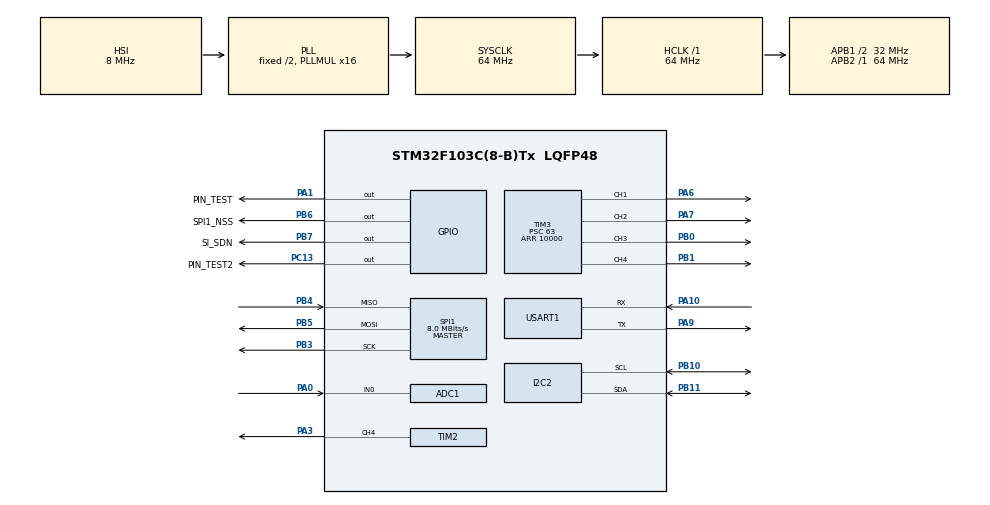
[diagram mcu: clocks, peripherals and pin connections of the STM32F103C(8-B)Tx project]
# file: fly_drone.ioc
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ADC1.Channel-1\#ChannelRegularConversion=ADC_CHANNEL_0
ADC1.NbrOfConversionFlag=1
ADC1.Rank-1\#ChannelRegularConversion=1
ADC1.SamplingTime-1\#ChannelRegularConversion=ADC_SAMPLETIME_1CYCLE_5
ADC1.master=1
I2C2.I2C_Mode=I2C_Fast
IWDG.Prescaler=IWDG_PRESCALER_64
IWDG.Reload=1250
Mcu.Family=STM32F1
Mcu.Name=STM32F103C(8-B)Tx
Mcu.Package=LQFP48
NVIC.PriorityGroup=NVIC_PRIORITYGROUP_4
NVIC.TIM3_IRQn=true\:0\:0\:false\:false\:true\:true\:true\:true
PA0-WKUP.Signal=ADCx_IN0
PA1.GPIO_Label=PIN_TEST
PA1.Signal=GPIO_Output
PA10.Mode=Asynchronous
PA10.Signal=USART1_RX
PA13.Mode=Serial_Wire
PA13.Signal=SYS_JTMS-SWDIO
PA14.Mode=Serial_Wire
PA14.Signal=SYS_JTCK-SWCLK
PA3.Signal=S_TIM2_CH4
PA6.Signal=S_TIM3_CH1
PA7.Signal=S_TIM3_CH2
PA9.Mode=Asynchronous
PA9.Signal=USART1_TX
PB0.Signal=S_TIM3_CH3
PB1.Signal=S_TIM3_CH4
PB10.Mode=I2C
PB10.Signal=I2C2_SCL
PB11.Mode=I2C
PB11.Signal=I2C2_SDA
PB3.Mode=Full_Duplex_Master
PB3.Signal=SPI1_SCK
PB4.Mode=Full_Duplex_Master
PB4.Signal=SPI1_MISO
PB5.Mode=Full_Duplex_Master
PB5.Signal=SPI1_MOSI
PB6.GPIO_Label=SPI1_NSS
PB6.Signal=GPIO_Output
PB7.GPIO_Label=SI_SDN
PB7.Signal=GPIO_Output
PC13-TAMPER-RTC.GPIO_Label=PIN_TEST2
PC13-TAMPER-RTC.Signal=GPIO_Output
ProjectManager.HeapSize=0x200
ProjectManager.StackSize=0x400
ProjectManager.TargetToolchain=Makefile
RCC.ADCPresc=RCC_ADCPCLK2_DIV6
RCC.AHBFreq_Value=64000000
RCC.APB1CLKDivider=RCC_HCLK_DIV2
RCC.APB1Freq_Value=32000000
RCC.APB1TimFreq_Value=64000000
RCC.APB2Freq_Value=64000000
RCC.APB2TimFreq_Value=64000000
RCC.HCLKFreq_Value=64000000
RCC.PLLMUL=RCC_PLL_MUL16
RCC.SYSCLKFreq_VALUE=64000000
RCC.SYSCLKSource=RCC_SYSCLKSOURCE_PLLCLK
RCC.USBFreq_Value=64000000
SH.ADCx_IN0.0=ADC1_IN0,IN0
SH.S_TIM2_CH4.0=TIM2_CH4,PWM Generation4 CH4
SH.S_TIM3_CH1.0=TIM3_CH1,PWM Generation1 CH1
SH.S_TIM3_CH2.0=TIM3_CH2,PWM Generation2 CH2
SH.S_TIM3_CH3.0=TIM3_CH3,PWM Generation3 CH3
SH.S_TIM3_CH4.0=TIM3_CH4,PWM Generation4 CH4
SPI1.BaudRatePrescaler=SPI_BAUDRATEPRESCALER_8
SPI1.CalculateBaudRate=8.0 MBits/s
SPI1.Direction=SPI_DIRECTION_2LINES
SPI1.Mode=SPI_MODE_MASTER
SPI1.VirtualType=VM_MASTER
TIM1.AutoReloadPreload=TIM_AUTORELOAD_PRELOAD_ENABLE
TIM1.Prescaler=63
TIM2.AutoReloadPreload=TIM_AUTORELOAD_PRELOAD_ENABLE
TIM2.Channel-PWM\ Generation4\ CH4=TIM_CHANNEL_4
TIM2.Period=20000
TIM2.Prescaler=63
TIM2.Pulse-PWM\ Generation4\ CH4=10000
TIM3.AutoReloadPreload=TIM_AUTORELOAD_PRELOAD_ENABLE
TIM3.Channel-PWM\ Generation1\ CH1=TIM_CHANNEL_1
TIM3.Channel-PWM\ Generation2\ CH2=TIM_CHANNEL_2
TIM3.Channel-PWM\ Generation3\ CH3=TIM_CHANNEL_3
TIM3.Channel-PWM\ Generation4\ CH4=TIM_CHANNEL_4
TIM3.Period=10000
TIM3.Prescaler=63
USART1.VirtualMode=VM_ASYNC
VP_IWDG_VS_IWDG.Mode=IWDG_Activate
VP_TIM1_VS_ClockSourceINT.Mode=Internal
VP_TIM2_VS_ClockSourceINT.Mode=Internal
VP_TIM3_VS_ClockSourceINT.Mode=Internal
board=custom

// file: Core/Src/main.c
/* USER CODE BEGIN Header */
/**
  ******************************************************************************
  * @file           : main.c
  * @brief          : Main program body
  ******************************************************************************
  * @attention
  *
  * Copyright (c) 2024 STMicroelectronics.
  * All rights reserved.
  *
  * This software is licensed under terms that can be found in the LICENSE file
  * in the root directory of this software component.
  * If no LICENSE file comes with this software, it is provided AS-IS.
  *
  ******************************************************************************
  */
/* USER CODE END Header */
#include "main.h"
#include "cmsis_os.h"

/* USER CODE BEGIN Includes */

#include <string.h>		// for strlen
#include <stdio.h>		// for sprintf
#include <math.h>		  // for abs and other

#include "radio_config_Si4463.h"

// #include "debug.h"

#include "params.h"
#include "system.h"
#include "mavlink_handler.h"

#include "imu.h"

#include "ModemControl.h"
#include "MotorControl.h"

#include "task.h"
#include "semphr.h"
/* USER CODE END Includes */

ADC_HandleTypeDef hadc1;

I2C_HandleTypeDef hi2c2;

IWDG_HandleTypeDef hiwdg;

SPI_HandleTypeDef hspi1;

TIM_HandleTypeDef htim1;
TIM_HandleTypeDef htim2;
TIM_HandleTypeDef htim3;

UART_HandleTypeDef huart1;

/* Definitions for modemTask */
osThreadId_t modemTaskHandle;
const osThreadAttr_t modemTask_attributes = {
  .name = "modemTask",
  .stack_size = 512 * 4,
  .priority = (osPriority_t) osPriorityNormal,
};
/* Definitions for imuTask */
osThreadId_t imuTaskHandle;
const osThreadAttr_t imuTask_attributes = {
  .name = "imuTask",
  .stack_size = 256 * 4,
  .priority = (osPriority_t) osPriorityNormal,
};
/* Definitions for controlTask */
osThreadId_t controlTaskHandle;
const osThreadAttr_t controlTask_attributes = {
  .name = "controlTask",
  .stack_size = 512 * 4,
  .priority = (osPriority_t) osPriorityNormal,
};
/* Definitions for myMutex01 */
osMutexId_t myMutex01Handle;
const osMutexAttr_t myMutex01_attributes = {
  .name = "myMutex01"
};

void SystemClock_Config(void);
static void MX_GPIO_Init(void);
static void MX_ADC1_Init(void);
static void MX_I2C2_Init(void);
static void MX_IWDG_Init(void);
static void MX_SPI1_Init(void);
static void MX_TIM2_Init(void);
static void MX_TIM3_Init(void);
static void MX_USART1_UART_Init(void);
static void MX_TIM1_Init(void);
void StartModemTask(void *argument);
void StartImuTask(void *argument);
void StartControlTask(void *argument);

/* USER CODE BEGIN 0 */

void test_set(int set){
  if (set !=0) HAL_GPIO_WritePin(PIN_TEST_GPIO_Port, PIN_TEST_Pin, GPIO_PIN_SET);
  else HAL_GPIO_WritePin(PIN_TEST_GPIO_Port, PIN_TEST_Pin, GPIO_PIN_RESET);

}

volatile uint32_t tick_ms = 0;

uint32_t Get_tick(void){
  return tick_ms;
}

void HAL_IncTick(void)
{
  uwTick += uwTickFreq;
  tick_ms++;
  if (htim1.Instance != 0)__HAL_TIM_SET_COUNTER(&htim1, 0); // reset for timer counter us
}

// void SYS_myTick(void)  // IRQ 1 ms
// {
//   tick_ms++;
//   // if ((tick_ms%1000) == 0) Printf("round\n\r");
//   //reset timer for calculate us
//   if (htim1.Instance != 0)__HAL_TIM_SET_COUNTER(&htim1, 0); // reset for timer counter us
// }

// void Printf(const char *fmt, ...){
//  HAL_UART_Transmit(&huart1, (unsigned char *)fmt, strlen(fmt), 500);
// }

#include <stdarg.h>

void Printf_str(const char *fmt, int len){
  osMutexAcquire(myMutex01Handle, osWaitForever);
  HAL_UART_Transmit(&huart1, (unsigned char *)fmt, len, 500);
  osMutexRelease(myMutex01Handle);
}
void Printf_i(int i){
  char d[16];
  itoa(i, d, 10,sizeof(d));
  Printf_str(d, strlen(d));
}
void Printf(const char * ptr, ...)
{
  va_list factor;
  va_start(factor, ptr);

  for (int i=0; ptr[i] != '\0'; i++){
    if ((ptr[i] == '%') && ((ptr[i+1] == 'd'))){
      int dig =  va_arg(factor, int);
      Printf_i(dig);
      i++;
    }
    else Printf_str(&ptr[i], 1);
  }
  va_end(factor);
}

// for printf. the size is larger on 2k
// int _write(int fd, char* ptr, int len) {
//     HAL_UART_Transmit(&huart1, (uint8_t *) ptr, len, HAL_MAX_DELAY);
//   ptr[len] = '\0';
//   if (ModemControl_getStatus()>=0) mavlink_send_statustext(ptr);
//     return len;
// }

/* USER CODE END 0 */

int main(void)
{

  /* MCU Configuration--------------------------------------------------------*/

  /* Reset of all peripherals, Initializes the Flash interface and the Systick. */
  HAL_Init();

  /* Configure the system clock */
  SystemClock_Config();

  /* Initialize all configured peripherals */
  MX_GPIO_Init();
  MX_ADC1_Init();
  MX_I2C2_Init();
  MX_IWDG_Init();
  MX_SPI1_Init();
  MX_TIM2_Init();
  MX_TIM3_Init();
  MX_USART1_UART_Init();
  MX_TIM1_Init();
  /* USER CODE BEGIN 2 */

  Printf("...\n\r");

#ifndef DEBUG
  __enable_irq();
  HAL_IWDG_Init(&hiwdg);
  __HAL_IWDG_START(&hiwdg);
  HAL_IWDG_Refresh(&hiwdg);
#endif

  HAL_TIM_Base_Start(&htim1); // timer for us calculate
  HAL_TIM_Base_Start(&htim2); // reserv for additional motors
  HAL_TIM_Base_Start(&htim3); // timer for motor pwm

  HAL_TIM_PWM_Start(&htim2, TIM_CHANNEL_2); // for additional motors
  HAL_TIM_PWM_Start(&htim2, TIM_CHANNEL_4); // for additional motors

  HAL_TIM_PWM_Start(&htim3, TIM_CHANNEL_1); // motor 1
  HAL_TIM_PWM_Start(&htim3, TIM_CHANNEL_2); // motor 2
  HAL_TIM_PWM_Start(&htim3, TIM_CHANNEL_3); // motor 3
  HAL_TIM_PWM_Start(&htim3, TIM_CHANNEL_4); // motor 4

  params_restore();

  // HAL_IWDG_Refresh(&hiwdg);

  MotorControl_init();

  if (imu_init() < 0) system_reboot();
  if (ModemControl_init() < 0) {Printf("MC_init false\n\r"); system_reboot();};

  Printf("Started...\n\r");

  /* USER CODE END 2 */

  /* Init scheduler */
  osKernelInitialize();
  /* Create the mutex(es) */
  /* creation of myMutex01 */
  myMutex01Handle = osMutexNew(&myMutex01_attributes);

  /* Create the thread(s) */
  /* creation of modemTask */
  modemTaskHandle = osThreadNew(StartModemTask, NULL, &modemTask_attributes);

  /* creation of imuTask */
  imuTaskHandle = osThreadNew(StartImuTask, NULL, &imuTask_attributes);

  /* creation of controlTask */
  controlTaskHandle = osThreadNew(StartControlTask, NULL, &controlTask_attributes);

  /* Start scheduler */
  osKernelStart();

  /* We should never get here as control is now taken by the scheduler */

  /* Infinite loop */
  while (1)
  {

  }
}

void SystemClock_Config(void)
{
  RCC_OscInitTypeDef RCC_OscInitStruct = {0};
  RCC_ClkInitTypeDef RCC_ClkInitStruct = {0};
  RCC_PeriphCLKInitTypeDef PeriphClkInit = {0};

  /** Initializes the RCC Oscillators according to the specified parameters
  * in the RCC_OscInitTypeDef structure.
  */
  RCC_OscInitStruct.OscillatorType = RCC_OSCILLATORTYPE_HSI|RCC_OSCILLATORTYPE_LSI;
  RCC_OscInitStruct.HSIState = RCC_HSI_ON;
  RCC_OscInitStruct.HSICalibrationValue = RCC_HSICALIBRATION_DEFAULT;
  RCC_OscInitStruct.LSIState = RCC_LSI_ON;
  RCC_OscInitStruct.PLL.PLLState = RCC_PLL_ON;
  RCC_OscInitStruct.PLL.PLLSource = RCC_PLLSOURCE_HSI_DIV2;
  RCC_OscInitStruct.PLL.PLLMUL = RCC_PLL_MUL16;
  if (HAL_RCC_OscConfig(&RCC_OscInitStruct) != HAL_OK)
  {
    Error_Handler();
  }

  /** Initializes the CPU, AHB and APB buses clocks
  */
  RCC_ClkInitStruct.ClockType = RCC_CLOCKTYPE_HCLK|RCC_CLOCKTYPE_SYSCLK
                              |RCC_CLOCKTYPE_PCLK1|RCC_CLOCKTYPE_PCLK2;
  RCC_ClkInitStruct.SYSCLKSource = RCC_SYSCLKSOURCE_PLLCLK;
  RCC_ClkInitStruct.AHBCLKDivider = RCC_SYSCLK_DIV1;
  RCC_ClkInitStruct.APB1CLKDivider = RCC_HCLK_DIV2;
  RCC_ClkInitStruct.APB2CLKDivider = RCC_HCLK_DIV1;

  if (HAL_RCC_ClockConfig(&RCC_ClkInitStruct, FLASH_LATENCY_2) != HAL_OK)
  {
    Error_Handler();
  }
  PeriphClkInit.PeriphClockSelection = RCC_PERIPHCLK_ADC;
  PeriphClkInit.AdcClockSelection = RCC_ADCPCLK2_DIV6;
  if (HAL_RCCEx_PeriphCLKConfig(&PeriphClkInit) != HAL_OK)
  {
    Error_Handler();
  }
}

static void MX_ADC1_Init(void)
{

  ADC_ChannelConfTypeDef sConfig = {0};

  /** Common config
  */
  hadc1.Instance = ADC1;
  hadc1.Init.ScanConvMode = ADC_SCAN_DISABLE;
  hadc1.Init.ContinuousConvMode = DISABLE;
  hadc1.Init.DiscontinuousConvMode = DISABLE;
  hadc1.Init.ExternalTrigConv = ADC_SOFTWARE_START;
  hadc1.Init.DataAlign = ADC_DATAALIGN_RIGHT;
  hadc1.Init.NbrOfConversion = 1;
  if (HAL_ADC_Init(&hadc1) != HAL_OK)
  {
    Error_Handler();
  }

  /** Configure Regular Channel
  */
  sConfig.Channel = ADC_CHANNEL_0;
  sConfig.Rank = ADC_REGULAR_RANK_1;
  sConfig.SamplingTime = ADC_SAMPLETIME_1CYCLE_5;
  if (HAL_ADC_ConfigChannel(&hadc1, &sConfig) != HAL_OK)
  {
    Error_Handler();
  }

}

static void MX_I2C2_Init(void)
{

  hi2c2.Instance = I2C2;
  hi2c2.Init.ClockSpeed = 400000;
  hi2c2.Init.DutyCycle = I2C_DUTYCYCLE_2;
  hi2c2.Init.OwnAddress1 = 0;
  hi2c2.Init.AddressingMode = I2C_ADDRESSINGMODE_7BIT;
  hi2c2.Init.DualAddressMode = I2C_DUALADDRESS_DISABLE;
  hi2c2.Init.OwnAddress2 = 0;
  hi2c2.Init.GeneralCallMode = I2C_GENERALCALL_DISABLE;
  hi2c2.Init.NoStretchMode = I2C_NOSTRETCH_DISABLE;
  if (HAL_I2C_Init(&hi2c2) != HAL_OK)
  {
    Error_Handler();
  }

}

static void MX_IWDG_Init(void)
{

  hiwdg.Instance = IWDG;
  hiwdg.Init.Prescaler = IWDG_PRESCALER_64;
  hiwdg.Init.Reload = 1250;
  if (HAL_IWDG_Init(&hiwdg) != HAL_OK)
  {
    Error_Handler();
  }

}

static void MX_SPI1_Init(void)
{

  /* SPI1 parameter configuration*/
  hspi1.Instance = SPI1;
  hspi1.Init.Mode = SPI_MODE_MASTER;
  hspi1.Init.Direction = SPI_DIRECTION_2LINES;
  hspi1.Init.DataSize = SPI_DATASIZE_8BIT;
  hspi1.Init.CLKPolarity = SPI_POLARITY_LOW;
  hspi1.Init.CLKPhase = SPI_PHASE_1EDGE;
  hspi1.Init.NSS = SPI_NSS_SOFT;
  hspi1.Init.BaudRatePrescaler = SPI_BAUDRATEPRESCALER_8;
  hspi1.Init.FirstBit = SPI_FIRSTBIT_MSB;
  hspi1.Init.TIMode = SPI_TIMODE_DISABLE;
  hspi1.Init.CRCCalculation = SPI_CRCCALCULATION_DISABLE;
  hspi1.Init.CRCPolynomial = 10;
  if (HAL_SPI_Init(&hspi1) != HAL_OK)
  {
    Error_Handler();
  }

}

static void MX_TIM1_Init(void)
{

  TIM_ClockConfigTypeDef sClockSourceConfig = {0};
  TIM_MasterConfigTypeDef sMasterConfig = {0};

  htim1.Instance = TIM1;
  htim1.Init.Prescaler = 63;
  htim1.Init.CounterMode = TIM_COUNTERMODE_UP;
  htim1.Init.Period = 65535;
  htim1.Init.ClockDivision = TIM_CLOCKDIVISION_DIV1;
  htim1.Init.RepetitionCounter = 0;
  htim1.Init.AutoReloadPreload = TIM_AUTORELOAD_PRELOAD_ENABLE;
  if (HAL_TIM_Base_Init(&htim1) != HAL_OK)
  {
    Error_Handler();
  }
  sClockSourceConfig.ClockSource = TIM_CLOCKSOURCE_INTERNAL;
  if (HAL_TIM_ConfigClockSource(&htim1, &sClockSourceConfig) != HAL_OK)
  {
    Error_Handler();
  }
  sMasterConfig.MasterOutputTrigger = TIM_TRGO_RESET;
  sMasterConfig.MasterSlaveMode = TIM_MASTERSLAVEMODE_DISABLE;
  if (HAL_TIMEx_MasterConfigSynchronization(&htim1, &sMasterConfig) != HAL_OK)
  {
    Error_Handler();
  }

}

static void MX_TIM2_Init(void)
{

  TIM_ClockConfigTypeDef sClockSourceConfig = {0};
  TIM_MasterConfigTypeDef sMasterConfig = {0};
  TIM_OC_InitTypeDef sConfigOC = {0};

  htim2.Instance = TIM2;
  htim2.Init.Prescaler = 63;
  htim2.Init.CounterMode = TIM_COUNTERMODE_UP;
  htim2.Init.Period = 20000;
  htim2.Init.ClockDivision = TIM_CLOCKDIVISION_DIV1;
  htim2.Init.AutoReloadPreload = TIM_AUTORELOAD_PRELOAD_ENABLE;
  if (HAL_TIM_Base_Init(&htim2) != HAL_OK)
  {
    Error_Handler();
  }
  sClockSourceConfig.ClockSource = TIM_CLOCKSOURCE_INTERNAL;
  if (HAL_TIM_ConfigClockSource(&htim2, &sClockSourceConfig) != HAL_OK)
  {
    Error_Handler();
  }
  if (HAL_TIM_PWM_Init(&htim2) != HAL_OK)
  {
    Error_Handler();
  }
  sMasterConfig.MasterOutputTrigger = TIM_TRGO_RESET;
  sMasterConfig.MasterSlaveMode = TIM_MASTERSLAVEMODE_DISABLE;
  if (HAL_TIMEx_MasterConfigSynchronization(&htim2, &sMasterConfig) != HAL_OK)
  {
    Error_Handler();
  }
  sConfigOC.OCMode = TIM_OCMODE_PWM1;
  sConfigOC.Pulse = 10000;
  sConfigOC.OCPolarity = TIM_OCPOLARITY_HIGH;
  sConfigOC.OCFastMode = TIM_OCFAST_DISABLE;
  if (HAL_TIM_PWM_ConfigChannel(&htim2, &sConfigOC, TIM_CHANNEL_4) != HAL_OK)
  {
    Error_Handler();
  }
  HAL_TIM_MspPostInit(&htim2);

}

static void MX_TIM3_Init(void)
{

  TIM_ClockConfigTypeDef sClockSourceConfig = {0};
  TIM_MasterConfigTypeDef sMasterConfig = {0};
  TIM_OC_InitTypeDef sConfigOC = {0};

  htim3.Instance = TIM3;
  htim3.Init.Prescaler = 63;
  htim3.Init.CounterMode = TIM_COUNTERMODE_UP;
  htim3.Init.Period = 10000;
  htim3.Init.ClockDivision = TIM_CLOCKDIVISION_DIV1;
  htim3.Init.AutoReloadPreload = TIM_AUTORELOAD_PRELOAD_ENABLE;
  if (HAL_TIM_Base_Init(&htim3) != HAL_OK)
  {
    Error_Handler();
  }
  sClockSourceConfig.ClockSource = TIM_CLOCKSOURCE_INTERNAL;
  if (HAL_TIM_ConfigClockSource(&htim3, &sClockSourceConfig) != HAL_OK)
  {
    Error_Handler();
  }
  if (HAL_TIM_PWM_Init(&htim3) != HAL_OK)
  {
    Error_Handler();
  }
  sMasterConfig.MasterOutputTrigger = TIM_TRGO_RESET;
  sMasterConfig.MasterSlaveMode = TIM_MASTERSLAVEMODE_DISABLE;
  if (HAL_TIMEx_MasterConfigSynchronization(&htim3, &sMasterConfig) != HAL_OK)
  {
    Error_Handler();
  }
  sConfigOC.OCMode = TIM_OCMODE_PWM1;
  sConfigOC.Pulse = 0;
  sConfigOC.OCPolarity = TIM_OCPOLARITY_HIGH;
  sConfigOC.OCFastMode = TIM_OCFAST_DISABLE;
  if (HAL_TIM_PWM_ConfigChannel(&htim3, &sConfigOC, TIM_CHANNEL_1) != HAL_OK)
  {
    Error_Handler();
  }
  if (HAL_TIM_PWM_ConfigChannel(&htim3, &sConfigOC, TIM_CHANNEL_2) != HAL_OK)
  {
    Error_Handler();
  }
  if (HAL_TIM_PWM_ConfigChannel(&htim3, &sConfigOC, TIM_CHANNEL_3) != HAL_OK)
  {
    Error_Handler();
  }
  if (HAL_TIM_PWM_ConfigChannel(&htim3, &sConfigOC, TIM_CHANNEL_4) != HAL_OK)
  {
    Error_Handler();
  }
  HAL_TIM_MspPostInit(&htim3);

}

static void MX_USART1_UART_Init(void)
{

  huart1.Instance = USART1;
  huart1.Init.BaudRate = 115200;
  huart1.Init.WordLength = UART_WORDLENGTH_8B;
  huart1.Init.StopBits = UART_STOPBITS_1;
  huart1.Init.Parity = UART_PARITY_NONE;
  huart1.Init.Mode = UART_MODE_TX_RX;
  huart1.Init.HwFlowCtl = UART_HWCONTROL_NONE;
  huart1.Init.OverSampling = UART_OVERSAMPLING_16;
  if (HAL_UART_Init(&huart1) != HAL_OK)
  {
    Error_Handler();
  }

}

static void MX_GPIO_Init(void)
{
  GPIO_InitTypeDef GPIO_InitStruct = {0};

  /* GPIO Ports Clock Enable */
  __HAL_RCC_GPIOC_CLK_ENABLE();
  __HAL_RCC_GPIOA_CLK_ENABLE();
  __HAL_RCC_GPIOB_CLK_ENABLE();

  /*Configure GPIO pin Output Level */
  HAL_GPIO_WritePin(PIN_TEST2_GPIO_Port, PIN_TEST2_Pin, GPIO_PIN_RESET);

  /*Configure GPIO pin Output Level */
  HAL_GPIO_WritePin(PIN_TEST_GPIO_Port, PIN_TEST_Pin, GPIO_PIN_RESET);

  /*Configure GPIO pin Output Level */
  HAL_GPIO_WritePin(GPIOB, SPI1_NSS_Pin|SI_SDN_Pin, GPIO_PIN_RESET);

  /*Configure GPIO pin : PIN_TEST2_Pin */
  GPIO_InitStruct.Pin = PIN_TEST2_Pin;
  GPIO_InitStruct.Mode = GPIO_MODE_OUTPUT_PP;
  GPIO_InitStruct.Pull = GPIO_NOPULL;
  GPIO_InitStruct.Speed = GPIO_SPEED_FREQ_LOW;
  HAL_GPIO_Init(PIN_TEST2_GPIO_Port, &GPIO_InitStruct);

  /*Configure GPIO pin : PIN_TEST_Pin */
  GPIO_InitStruct.Pin = PIN_TEST_Pin;
  GPIO_InitStruct.Mode = GPIO_MODE_OUTPUT_PP;
  GPIO_InitStruct.Pull = GPIO_NOPULL;
  GPIO_InitStruct.Speed = GPIO_SPEED_FREQ_LOW;
  HAL_GPIO_Init(PIN_TEST_GPIO_Port, &GPIO_InitStruct);

  /*Configure GPIO pins : SPI1_NSS_Pin SI_SDN_Pin */
  GPIO_InitStruct.Pin = SPI1_NSS_Pin|SI_SDN_Pin;
  GPIO_InitStruct.Mode = GPIO_MODE_OUTPUT_PP;
  GPIO_InitStruct.Pull = GPIO_NOPULL;
  GPIO_InitStruct.Speed = GPIO_SPEED_FREQ_LOW;
  HAL_GPIO_Init(GPIOB, &GPIO_InitStruct);

}

void StartModemTask(void *argument)
{
  /* USER CODE BEGIN 5 */

  // portTickType xLastWakeTime;
  // xLastWakeTime = xTaskGetTickCount();

  /* Infinite loop */
  for(;;)
  {
#ifndef DEBUG
    HAL_IWDG_Refresh(&hiwdg);
#endif
    // vTaskDelayUntil( &xLastWakeTime, ( 1 / portTICK_RATE_MS ) );
    vTaskDelay( ( 2 / portTICK_RATE_MS ) );
    // osDelay(1);

    mavlink_loop();

    if (ModemControl_Loop() == 1){  // if rx data pack
      uint8_t buff_pack[64];
      int32_t rx_len = ModemControl_GetPacket(buff_pack);
      mavlink_receive_pack(buff_pack, rx_len);  // send packet to parse
    }

  }
  /* USER CODE END 5 */
}

void StartImuTask(void *argument)
{
  /* USER CODE BEGIN StartImuTask */
  /* Infinite loop */

  portTickType xLastWakeTime;
  xLastWakeTime = xTaskGetTickCount();
  for(;;)
  {

    vTaskDelay( ( 2 / portTICK_RATE_MS ) );
    imu_loop();

  }
  /* USER CODE END StartImuTask */
}

void StartControlTask(void *argument)
{
  /* USER CODE BEGIN StartControlTask */
  /* Infinite loop */
  for(;;)
  {

    #define MAV_TX_STATUS_HZ 1
    #define MAV_TX_ATTITUDE_HZ 10

    osDelay(1000/MAV_TX_ATTITUDE_HZ);

    if (MotorControl_isArmed()) HAL_GPIO_TogglePin(PIN_TEST_GPIO_Port, PIN_TEST_Pin);   //fast blink

    mavlink_send_attitude();
    Battery_Read();

    static int d = 0;
    if (d++>=(MAV_TX_ATTITUDE_HZ/MAV_TX_STATUS_HZ)){  //frequency reduction to MAV_TX_STATUS_HZ Hz
      d=0;
      mavlink_send_heartbeat();
      mavlink_send_status();
      if (!MotorControl_isArmed()) HAL_GPIO_TogglePin(PIN_TEST_GPIO_Port, PIN_TEST_Pin);   //slowly blink
    }
  }
  /* USER CODE END StartControlTask */
}

void HAL_TIM_PeriodElapsedCallback(TIM_HandleTypeDef *htim)
{
  if (htim->Instance == TIM4) {
    HAL_IncTick();
  }
}

void Error_Handler(void)
{
  __disable_irq();
  while (1)
  {
  }
}
